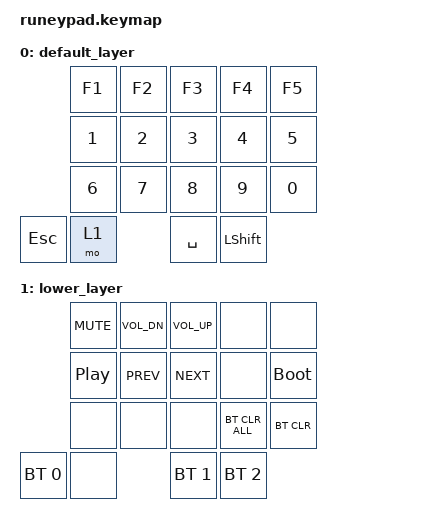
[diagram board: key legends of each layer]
#include <behaviors.dtsi>
#include <dt-bindings/zmk/keys.h>
#include <dt-bindings/zmk/bt.h>

/ {
        keymap {
                compatible = "zmk,keymap";

                default_layer {
// -----------------------------------------------------------------------------------------
// |  TAB |  Q  |  W  |  E  |  R  |  T  |   |  Y  |  U   |  I  |  O  |  P  | BSPC |
// | CTRL |  A  |  S  |  D  |  F  |  G  |   |  H  |  J   |  K  |  L  |  ;  |  '   |
// | SHFT |  Z  |  X  |  C  |  V  |  B  |   |  N  |  M   |  ,  |  .  |  /  | ESC  |
//                    | GUI | LWR | SPC |   | ENT | RSE  | ALT |
                        bindings = <
        &kp F1    &kp F2   &kp F3  &kp F4  &kp F5                   
        &kp N1    &kp N2   &kp N3  &kp N4  &kp N5
        &kp N6    &kp N7   &kp N8  &kp N9  &kp N0
   &kp ESC        &mo 1 &kp SPACE &kp LSHIFT
                        >;
                };
                lower_layer {
                        bindings = <
        &kp C_MUTE  &kp C_VOL_DN     &kp C_VOL_UP     &none   &none
        &kp C_PP    &kp C_PREV       &kp C_NEXT       &none   &bootloader
        &none       &none            &none          &bt BT_CLR_ALL   &bt BT_CLR 
&bt BT_SEL 0    &none       &bt BT_SEL 1  &bt BT_SEL 2
                        >;
                };
        };
};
